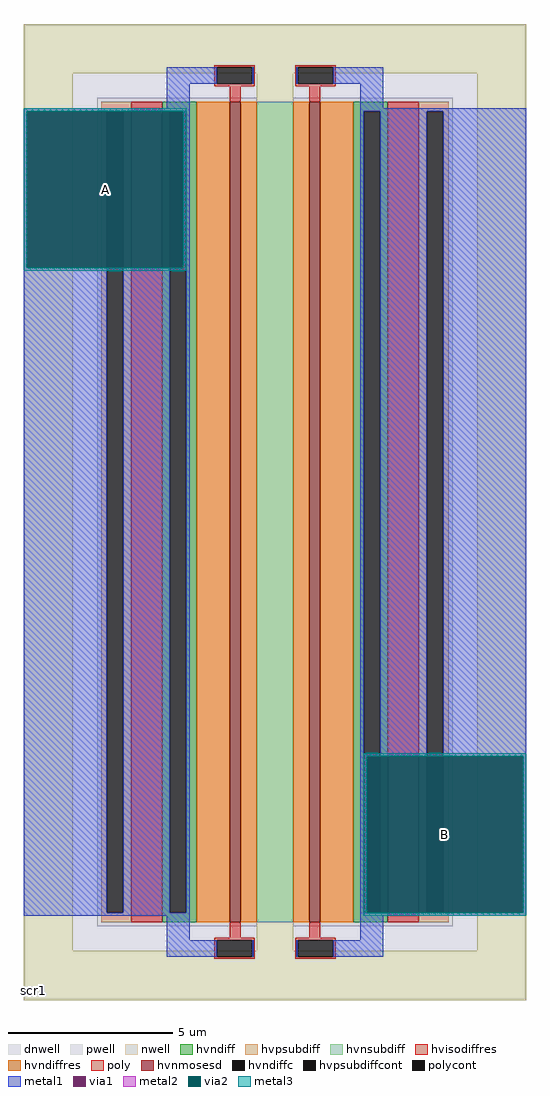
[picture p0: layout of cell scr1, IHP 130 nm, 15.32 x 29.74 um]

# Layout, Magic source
magic
tech ihp-sg13g2
magscale 1 2
<< dnwell >>
rect -1524 -466 1524 5466
<< nwell >>
rect -1532 5174 1532 5474
rect -1532 -174 -1232 5174
rect -110 -174 110 5174
rect 1232 -174 1532 5174
rect -1532 -474 1532 -174
<< pwell >>
rect -1084 -26 -110 5026
rect 110 -26 1084 5026
<< hvnmosesd >>
rect -276 0 -210 5000
rect 210 0 276 5000
<< hvndiff >>
rect -686 4942 -476 5000
rect -686 58 -640 4942
rect -540 58 -476 4942
rect -686 0 -476 58
rect 476 4942 686 5000
rect 476 58 540 4942
rect 640 58 686 4942
rect 476 0 686 58
<< hvndiffc >>
rect -640 58 -540 4942
rect 540 58 640 4942
<< hvpsubdiff >>
rect -1058 4942 -876 5000
rect -1058 58 -1024 4942
rect -924 58 -876 4942
rect -1058 0 -876 58
rect 876 4942 1058 5000
rect 876 58 924 4942
rect 1024 58 1058 4942
rect 876 0 1058 58
<< hvnsubdiff >>
rect -110 0 110 5000
<< hvpsubdiffcont >>
rect -1024 58 -924 4942
rect 924 58 1024 4942
<< poly >>
rect -370 5210 -124 5224
rect -370 5110 -354 5210
rect -140 5110 -124 5210
rect -370 5096 -124 5110
rect 124 5210 370 5224
rect 124 5110 140 5210
rect 354 5110 370 5210
rect 124 5096 370 5110
rect -276 5000 -210 5096
rect 210 5000 276 5096
rect -276 -96 -210 0
rect 210 -96 276 0
rect -370 -110 -124 -96
rect -370 -210 -354 -110
rect -140 -210 -124 -110
rect -370 -224 -124 -210
rect 124 -110 370 -96
rect 124 -210 140 -110
rect 354 -210 370 -110
rect 124 -224 370 -210
<< polycont >>
rect -354 5110 -140 5210
rect 140 5110 354 5210
rect -354 -210 -140 -110
rect 140 -210 354 -110
<< hvndiffres >>
rect -476 0 -276 5000
rect -210 0 -110 5000
rect 110 0 210 5000
rect 276 0 476 5000
<< hvisodiffres >>
rect -876 0 -686 5000
rect 686 0 876 5000
<< metal1 >>
rect -660 5110 -354 5210
rect -140 5110 -130 5210
rect 130 5110 140 5210
rect 354 5110 660 5210
rect -660 4962 -520 5110
rect -1532 4943 -520 4962
rect -1532 3989 -1513 4943
rect -559 4942 -520 4943
rect -1532 58 -1024 3989
rect -924 58 -640 3989
rect -540 58 -520 4942
rect -1532 38 -520 58
rect -660 -110 -520 38
rect 520 4962 660 5110
rect 520 4942 1532 4962
rect 520 58 540 4942
rect 640 1011 924 4942
rect 1024 1011 1532 4942
rect 520 57 559 58
rect 1513 57 1532 1011
rect 520 38 1532 57
rect 520 -110 660 38
rect -660 -210 -354 -110
rect -140 -210 -130 -110
rect 130 -210 140 -110
rect 354 -210 660 -110
<< via1 >>
rect -1513 4942 -559 4943
rect -1513 3989 -1024 4942
rect -1024 3989 -924 4942
rect -924 3989 -640 4942
rect -640 3989 -559 4942
rect 559 58 640 1011
rect 640 58 924 1011
rect 924 58 1024 1011
rect 1024 58 1513 1011
rect 559 57 1513 58
<< metal2 >>
rect -1532 4943 -540 4962
rect -1532 3989 -1513 4943
rect -559 3989 -540 4943
rect -1532 3970 -540 3989
rect 540 1011 1532 1030
rect 540 57 559 1011
rect 1513 57 1532 1011
rect 540 38 1532 57
<< via2 >>
rect -1513 3989 -559 4943
rect 559 57 1513 1011
<< metal3 >>
rect -1532 4943 -540 4962
rect -1532 3989 -1513 4943
rect -559 3989 -540 4943
rect -1532 3970 -540 3989
rect 540 1011 1532 1030
rect 540 57 559 1011
rect 1513 57 1532 1011
rect 540 38 1532 57
<< labels >>
flabel via2 s 1036 534 1036 534 0 FreeSans 8000 0 0 0 B
flabel via2 s -1036 4466 -1036 4466 0 FreeSans 8000 0 0 0 A
flabel nwell s -1470 -418 -1470 -418 2 FreeSans 4000 0 0 0 scr1
<< end >>
